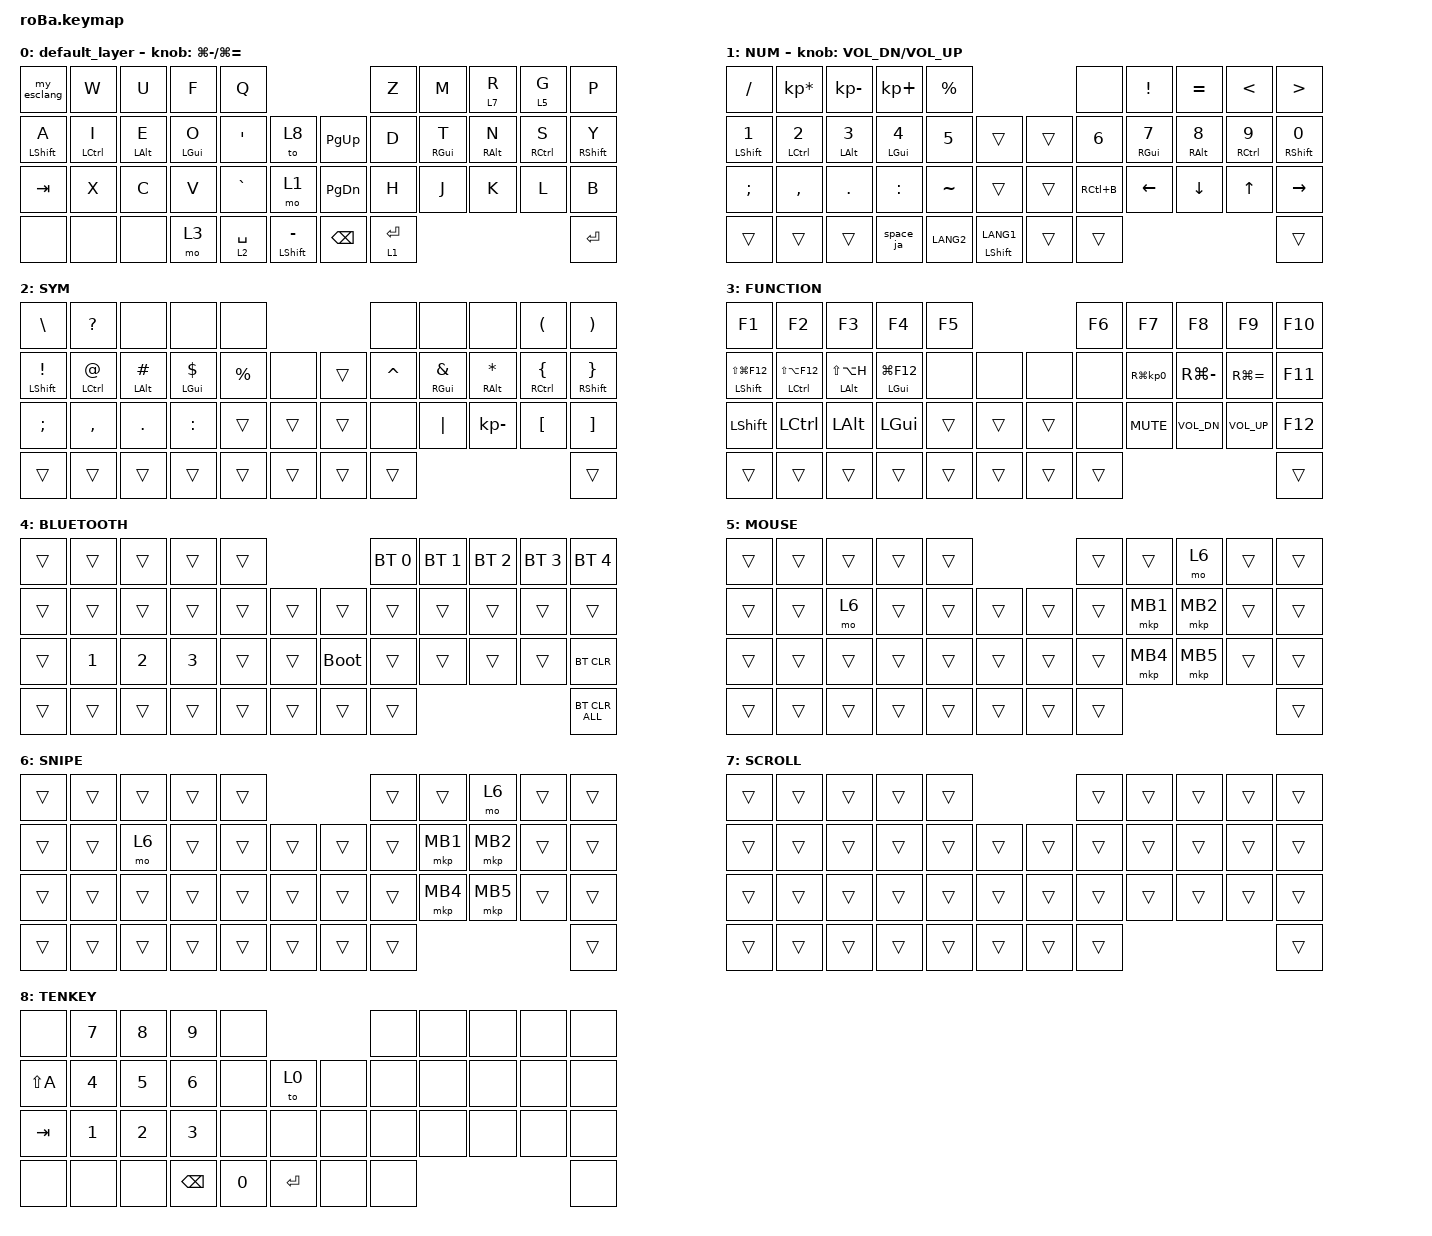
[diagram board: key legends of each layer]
#include <dt-bindings/zmk/mouse.h>
#include <behaviors.dtsi>
#include <dt-bindings/zmk/bt.h>
#include <dt-bindings/zmk/keys.h>
#include <dt-bindings/zmk/pointing.h>

&mt {
    flavor = "balanced";
    quick-tap-ms = <0>;
    tapping-term-ms = <250>;
};

&lt { tapping-term-ms = <150>; };

&trackball {
    // automouse-layer = <5>;

    scroll-layers = <7>;

    // arrows {
    //     layers = <3>;
    //     bindings =
    //         <&kp RIGHT_ARROW>,
    //         <&kp LEFT_ARROW>,
    //         <&kp UP_ARROW>,
    //         <&kp DOWN_ARROW>;
    //     tick = <10>;
    //     wait-ms = <5>;
    //     tap-ms = <5>;
    // };
};

/ {
    combos { compatible = "zmk,combos"; };

    macros {
        // to_layer_0: to_layer_0 {
        //     compatible = "zmk,behavior-macro-one-param";
        //     #binding-cells = <1>;
        //     bindings = <&to 0 &macro_param_1to1 &kp MACRO_PLACEHOLDER>;
        //     label = "TO_LAYER_0";
        // };
    };

    behaviors {
        // lt_to_layer_0: lt_to_layer_0 {
        //     compatible = "zmk,behavior-hold-tap";
        //     label = "LAYER_TAP_TO_0";
        //     bindings = <&mo>, <&to_layer_0>;
        //     #binding-cells = <2>;
        //     tapping-term-ms = <200>;
        // };
        // tdl: tap_dance_lang {
        //     compatible = "zmk,behavior-tap-dance";
        //     #binding-cells = <0>;
        //     tapping-term-ms = <250>;
        //     bindings = <&kp LANG2>, <&kp LANG1>;
        // };

        my_esclang: my_esc_lang2 {
            compatible = "zmk,behavior-macro";
            #binding-cells = <0>;
            bindings = <&kp ESC &kp LANG2>;
        };

        space_ja: space_ja {
            compatible = "zmk,behavior-macro";
            #binding-cells = <0>;
            bindings = <&kp LANG2 &kp SPACE &kp LANG1>;
        };

        // space_en: space_en {
        //     compatible = "zmk,behavior-macro";
        //     #binding-cells = <0>;
        //     bindings = <&kp LANG2 &kp SPACE>;
        // };
        // my_gresc: my_grave_escape {
        //     compatible = "zmk,behavior-mod-morph";
        //     #binding-cells = <0>;
        //     bindings = <&kp ESC>, <&kp GRAVE>;
        //     mods = <(MOD_LALT|MOD_RALT)>;
        // };
    };

    keymap {
        compatible = "zmk,keymap";

        default_layer {
            bindings = <
&my_esclang  &kp W        &kp U       &kp F       &kp Q                                            &kp Z        &kp M       &lt 7 R     &lt 5 G      &kp P
&mt LSHFT A  &mt LCTRL I  &mt LALT E  &mt LGUI O  &kp SQT      &to 8                &kp PAGE_UP    &kp D        &mt RGUI T  &mt RALT N  &mt RCTRL S  &mt RSHFT Y
&kp TAB      &kp X        &kp C       &kp V       &kp GRAVE    &mo 1                &kp PAGE_DOWN  &kp H        &kp J       &kp K       &kp L        &kp B
&none        &none        &none       &mo 3       &lt 2 SPACE  &mt LSHFT MINUS      &kp BSPC       &lt 1 ENTER                                       &kp ENTER
            >;

            sensor-bindings = <&inc_dec_kp LG(MINUS) LG(EQUAL)>;
        };

        NUM {
            bindings = <
&kp SLASH     &kp KP_MULTIPLY  &kp KP_MINUS  &kp KP_PLUS  &kp PRCNT                               &none      &kp EXCL     &kp EQUAL    &kp LT        &kp GT
&mt LSHFT N1  &mt LCTRL N2     &mt LALT N3   &mt LGUI N4  &kp N5     &trans               &trans  &kp N6     &mt RGUI N7  &mt RALT N8  &mt RCTRL N9  &mt RSHFT N0
&kp SEMI      &kp COMMA        &kp DOT       &kp COLON    &kp TILDE  &trans               &trans  &kp RC(B)  &kp LEFT     &kp DOWN     &kp UP        &kp RIGHT
&trans        &trans           &trans        &space_ja    &kp LANG2  &mt LSHFT LANG1      &trans  &trans                                             &trans
            >;

            sensor-bindings = <&inc_dec_kp C_VOL_DN C_VOL_UP>;
        };

        SYM {
            bindings = <
&kp BSLH        &kp QMARK     &none          &none          &none                          &none      &none          &none          &kp LPAR        &kp RPAR
&mt LSHFT EXCL  &mt LCTRL AT  &mt LALT HASH  &mt LGUI DLLR  &kp PRCNT  &none       &trans  &kp CARET  &mt RGUI AMPS  &mt RALT STAR  &mt RCTRL LBRC  &mt RSHFT RBRC
&kp SEMI        &kp COMMA     &kp DOT        &kp COLON      &trans     &trans      &trans  &none      &kp PIPE       &kp KP_MINUS   &kp LBKT        &kp RBKT
&trans          &trans        &trans         &trans         &trans     &trans      &trans  &trans                                                   &trans
            >;
        };

        FUNCTION {
            bindings = <
&kp F1                 &kp F2                 &kp F3              &kp F4            &kp F5                      &kp F6  &kp F7         &kp F8         &kp F9         &kp F10
&mt LSHFT LS(LG(F12))  &mt LCTRL LS(LA(F12))  &mt LALT LS(LA(H))  &mt LGUI LG(F12)  &none   &none       &none   &none   &kp RG(KP_N0)  &kp RG(MINUS)  &kp RG(EQUAL)  &kp F11
&kp LSHFT              &kp LCTRL              &kp LALT            &kp LGUI          &trans  &trans      &trans  &none   &kp K_MUTE     &kp C_VOL_DN   &kp C_VOL_UP   &kp F12
&trans                 &trans                 &trans              &trans            &trans  &trans      &trans  &trans                                               &trans
            >;
        };

        BLUETOOTH {
            bindings = <
&trans  &trans  &trans  &trans  &trans                           &bt BT_SEL 0  &bt BT_SEL 1  &bt BT_SEL 2  &bt BT_SEL 3  &bt BT_SEL 4
&trans  &trans  &trans  &trans  &trans  &trans      &trans       &trans        &trans        &trans        &trans        &trans
&trans  &kp N1  &kp N2  &kp N3  &trans  &trans      &bootloader  &trans        &trans        &trans        &trans        &bt BT_CLR
&trans  &trans  &trans  &trans  &trans  &trans      &trans       &trans                                                  &bt BT_CLR_ALL
            >;
        };

        MOUSE {
            bindings = <
&trans  &trans  &trans  &trans  &trans                      &trans  &trans    &mo 6     &trans  &trans
&trans  &trans  &mo 6   &trans  &trans  &trans      &trans  &trans  &mkp MB1  &mkp MB2  &trans  &trans
&trans  &trans  &trans  &trans  &trans  &trans      &trans  &trans  &mkp MB4  &mkp MB5  &trans  &trans
&trans  &trans  &trans  &trans  &trans  &trans      &trans  &trans                              &trans
            >;
        };

        SNIPE {
            bindings = <
&trans  &trans  &trans  &trans  &trans                      &trans  &trans    &mo 6     &trans  &trans
&trans  &trans  &mo 6   &trans  &trans  &trans      &trans  &trans  &mkp MB1  &mkp MB2  &trans  &trans
&trans  &trans  &trans  &trans  &trans  &trans      &trans  &trans  &mkp MB4  &mkp MB5  &trans  &trans
&trans  &trans  &trans  &trans  &trans  &trans      &trans  &trans                              &trans
            >;
        };

        SCROLL {
            bindings = <
&trans  &trans  &trans  &trans  &trans                      &trans  &trans  &trans  &trans  &trans
&trans  &trans  &trans  &trans  &trans  &trans      &trans  &trans  &trans  &trans  &trans  &trans
&trans  &trans  &trans  &trans  &trans  &trans      &trans  &trans  &trans  &trans  &trans  &trans
&trans  &trans  &trans  &trans  &trans  &trans      &trans  &trans                          &trans
            >;
        };

        TENKEY {
            bindings = <
&none      &kp N7   &kp N8   &kp N9     &none                        &none  &none  &none  &none  &none
&kp LS(A)  &kp N4   &kp N5   &kp N6     &none   &to 0         &none  &none  &none  &none  &none  &none
&kp TAB    &kp N1   &kp N2   &kp N3     &none   &none         &none  &none  &none  &none  &none  &none
&none      &none    &none    &kp BSPC   &kp N0  &kp ENTER     &none  &none                       &none
            >;
        };
    };

    conditional_layers {
        compatible = "zmk,conditional-layers";

        bluetooth {
            if-layers = <2 3>;
            then-layer = <4>;
        };
    };
};
